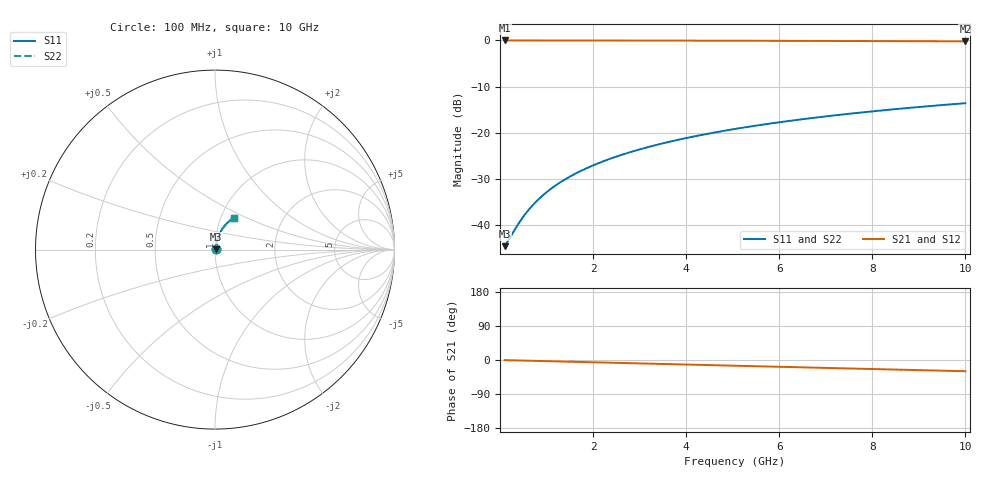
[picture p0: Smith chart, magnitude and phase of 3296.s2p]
# Hz S RI R 50.00
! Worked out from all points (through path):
!   100 points, 100 MHz to 10 GHz, reference 50 ohm
!   highest |S21| = -0.05 dB at 100 MHz (marker M1); lowest = -0.2 dB at 10 GHz (marker M2)
!   group delay of S21, straight-line fit = 8.24 ps
!   lowest |S11| = -44.5 dB at 100 MHz (marker M3), VSWR 1.01, Z = 50.6 + j0.221 ohm
!   |S11| at or under -10 dB: start of sweep to end of sweep
!   |S22| runs from -44.5 to -13.6 dB; largest |S21 - S12| = 0
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1e8  0.00555 0.00218  0.9944 -0.0052  0.9944 -0.0052  0.00555 0.00218
2e8  0.00562 0.00436  0.9944 -0.0104  0.9944 -0.0104  0.00562 0.00436
4e8  0.00581 0.00872  0.9941 -0.0208  0.9941 -0.0208  0.00581 0.00872
5e8  0.00593 0.0109  0.9939 -0.026  0.9939 -0.026  0.00593 0.0109
6e8  0.00607 0.0131  0.9937 -0.0312  0.9937 -0.0312  0.00607 0.0131
7e8  0.00623 0.0152  0.9935 -0.0364  0.9935 -0.0364  0.00623 0.0152
8e8  0.00641 0.0174  0.9933 -0.0416  0.9933 -0.0416  0.00641 0.0174
1e9  0.00685 0.0218  0.9927 -0.0519  0.9927 -0.0519  0.00685 0.0218
1.2e9  0.00737 0.0261  0.9919 -0.0623  0.9919 -0.0623  0.00737 0.0261
1.5e9  0.00831 0.0325  0.9906 -0.0778  0.9906 -0.0778  0.00831 0.0325
1.8e9  0.00946 0.039  0.989 -0.0933  0.989 -0.0933  0.00946 0.039
2.1e9  0.0108 0.0454  0.9871 -0.1088  0.9871 -0.1088  0.0108 0.0454
2.5e9  0.0129 0.0538  0.9842 -0.1293  0.9842 -0.1293  0.0129 0.0538
2.9e9  0.0154 0.0621  0.9807 -0.1497  0.9807 -0.1497  0.0154 0.0621
3.4e9  0.0189 0.0724  0.9757 -0.1751  0.9757 -0.1751  0.0189 0.0724
4.2e9  0.0256 0.0884  0.9661 -0.2153  0.9661 -0.2153  0.0256 0.0884
5.1e9  0.0348 0.1055  0.9531 -0.2596  0.9531 -0.2596  0.0348 0.1055
5.9e9  0.0442 0.12  0.9396 -0.2983  0.9396 -0.2983  0.0442 0.12
6.7e9  0.0547 0.1336  0.9243 -0.336  0.9243 -0.336  0.0547 0.1336
7.5e9  0.0663 0.1462  0.9074 -0.3728  0.9074 -0.3728  0.0663 0.1462
8.4e9  0.0804 0.1591  0.8865 -0.413  0.8865 -0.413  0.0804 0.1591
1e10  0.1081 0.1786  0.8447 -0.4807  0.8447 -0.4807  0.1081 0.1786
